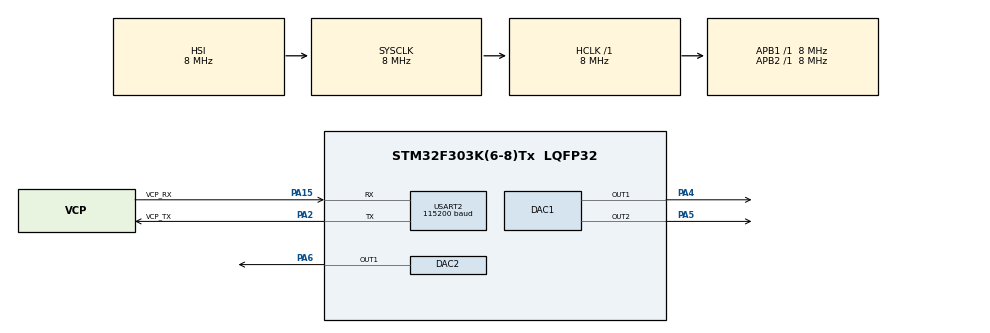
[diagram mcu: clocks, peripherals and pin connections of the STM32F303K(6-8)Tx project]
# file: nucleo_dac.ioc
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FREERTOS.Events01=eventCMD,Dynamic,NULL;eventUpdateDAC,Dynamic,NULL
FREERTOS.Tasks01=defaultTask,24,128,StartDefaultTask,Default,NULL,Dynamic,NULL,NULL;taskCMD,8,128,StartTaskCMD,Default,NULL,Dynamic,NULL,NULL
FREERTOS.configUSE_NEWLIB_REENTRANT=1
Mcu.Family=STM32F3
Mcu.Name=STM32F303K(6-8)Tx
Mcu.Package=LQFP32
NVIC.PriorityGroup=NVIC_PRIORITYGROUP_4
NVIC.TIM6_DAC1_IRQn=true\:5\:0\:false\:false\:true\:true\:true\:true\:true
NVIC.USART2_IRQn=true\:5\:0\:false\:false\:true\:true\:true\:true\:true
PA13.GPIO_Label=SWDIO
PA13.Mode=Serial_Wire
PA13.Signal=SYS_JTMS-SWDIO
PA14.GPIO_Label=SWCLK
PA14.Mode=Serial_Wire
PA14.Signal=SYS_JTCK-SWCLK
PA15.GPIO_Label=VCP_RX
PA15.Mode=Asynchronous
PA15.Signal=USART2_RX
PA2.GPIO_Label=VCP_TX
PA2.Mode=Asynchronous
PA2.Signal=USART2_TX
PA4.Signal=COMP_DAC11_group
PA5.Signal=COMP_DAC12_group
PA6.Signal=COMP_DAC21_group
PF0\ /\ OSC_IN.GPIO_Label=MCO
PF0\ /\ OSC_IN.Mode=HSE-External-Clock-Source
PF0\ /\ OSC_IN.Signal=RCC_OSC_IN
ProjectManager.HeapSize=0x200
ProjectManager.StackSize=0x400
ProjectManager.TargetToolchain=STM32CubeIDE
RCC.AHBFreq_Value=8000000
RCC.APB1Freq_Value=8000000
RCC.APB2Freq_Value=8000000
RCC.CortexFreq_Value=8000000
RCC.HSE_VALUE=8000000
RCC.HSI_VALUE=8000000
RCC.SYSCLKFreq_VALUE=8000000
SH.COMP_DAC11_group.0=DAC1_OUT1,DAC_OUT1
SH.COMP_DAC12_group.0=DAC1_OUT2,DAC_OUT2
SH.COMP_DAC21_group.0=DAC2_OUT1,Switch_Enable_OUT1
USART2.BaudRate=115200
USART2.VirtualMode-Asynchronous=VM_ASYNC
VP_FREERTOS_VS_CMSIS_V2.Mode=CMSIS_V2
board=NUCLEO-F303K8

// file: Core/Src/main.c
/* USER CODE BEGIN Header */
/**
  ******************************************************************************
  * @file           : main.c
  * @brief          : Main program body
  ******************************************************************************
  * @attention
  *
  * Copyright (c) 2024 STMicroelectronics.
  * All rights reserved.
  *
  * This software is licensed under terms that can be found in the LICENSE file
  * in the root directory of this software component.
  * If no LICENSE file comes with this software, it is provided AS-IS.
  *
  ******************************************************************************
  */
/* USER CODE END Header */
#include "main.h"
#include "cmsis_os.h"

/* USER CODE BEGIN Includes */
#include <string.h>
#include <stdio.h>
#include <stdarg.h>
#include <stdlib.h>
/* USER CODE END Includes */

/* USER CODE BEGIN PD */
#define UART_STR_LEN 80

#define CMD_MAX_LEN 16
#define PARAM_MAX_LEN 8
#define TOTAL_CMD_PARAMS 3
#define TOTAL_DACS 3
#define MAX_RCV_LEN (CMD_MAX_LEN + 1 + (PARAM_MAX_LEN * TOTAL_CMD_PARAMS))
#define FLAG_CMD_BUF0_READY 0x1
#define FLAG_CMD_BUF1_READY 0x2
#define FLAG_DAC0_UPDATE 0x1
#define FLAG_DAC1_UPDATE 0x2
#define FLAG_DAC2_UPDATE 0x3
/* USER CODE END PD */

DAC_HandleTypeDef hdac1;
DAC_HandleTypeDef hdac2;

UART_HandleTypeDef huart2;

/* Definitions for defaultTask */
osThreadId_t defaultTaskHandle;
const osThreadAttr_t defaultTask_attributes = {
  .name = "defaultTask",
  .stack_size = 128 * 4,
  .priority = (osPriority_t) osPriorityNormal,
};
/* Definitions for taskCMD */
osThreadId_t taskCMDHandle;
const osThreadAttr_t taskCMD_attributes = {
  .name = "taskCMD",
  .stack_size = 128 * 4,
  .priority = (osPriority_t) osPriorityLow,
};
/* Definitions for eventCMD */
osEventFlagsId_t eventCMDHandle;
const osEventFlagsAttr_t eventCMD_attributes = {
  .name = "eventCMD"
};
/* Definitions for eventUpdateDAC */
osEventFlagsId_t eventUpdateDACHandle;
const osEventFlagsAttr_t eventUpdateDAC_attributes = {
  .name = "eventUpdateDAC"
};
/* USER CODE BEGIN PV */
uint16_t dac_value[TOTAL_DACS];

char uart_msg[UART_STR_LEN];
extern struct RunTableInfo RunTable;

// serial command processing
uint8_t rcv_byte;
uint8_t rcv_buf[2][MAX_RCV_LEN];
uint8_t rcv_idx = 0;
uint8_t rcv_buf_idx = 0;
uint8_t rcv_cmd_len = 0;

char cmd_buf[MAX_RCV_LEN];
char cmd[CMD_MAX_LEN];
char cmd_params[TOTAL_CMD_PARAMS][PARAM_MAX_LEN];
char cmd_delim[2] = " ";

/* USER CODE END PV */

void SystemClock_Config(void);
static void MX_GPIO_Init(void);
static void MX_USART2_UART_Init(void);
static void MX_DAC1_Init(void);
static void MX_DAC2_Init(void);
void StartDefaultTask(void *argument);
void StartTaskCMD(void *argument);

/* USER CODE BEGIN PFP */
void debug_print_uart(char *fmt, ...);
/* USER CODE END PFP */

int main(void)
{

  /* MCU Configuration--------------------------------------------------------*/

  /* Reset of all peripherals, Initializes the Flash interface and the Systick. */
  HAL_Init();

  /* Configure the system clock */
  SystemClock_Config();

  /* Initialize all configured peripherals */
  MX_GPIO_Init();
  MX_USART2_UART_Init();
  MX_DAC1_Init();
  MX_DAC2_Init();
  /* USER CODE BEGIN 2 */
  HAL_DAC_Start(&hdac1, DAC_CHANNEL_1);
  HAL_DAC_Start(&hdac1, DAC_CHANNEL_2);
  HAL_DAC_Start(&hdac2, DAC_CHANNEL_1);
  /* USER CODE END 2 */

  /* Init scheduler */
  osKernelInitialize();

  /* Create the thread(s) */
  /* creation of defaultTask */
  defaultTaskHandle = osThreadNew(StartDefaultTask, NULL, &defaultTask_attributes);

  /* creation of taskCMD */
  taskCMDHandle = osThreadNew(StartTaskCMD, NULL, &taskCMD_attributes);

  /* Create the event(s) */
  /* creation of eventCMD */
  eventCMDHandle = osEventFlagsNew(&eventCMD_attributes);

  /* creation of eventUpdateDAC */
  eventUpdateDACHandle = osEventFlagsNew(&eventUpdateDAC_attributes);

  /* Start scheduler */
  osKernelStart();

  /* We should never get here as control is now taken by the scheduler */
  /* Infinite loop */
  while (1)
  {

  }
}

void SystemClock_Config(void)
{
  RCC_OscInitTypeDef RCC_OscInitStruct = {0};
  RCC_ClkInitTypeDef RCC_ClkInitStruct = {0};

  /** Initializes the RCC Oscillators according to the specified parameters
  * in the RCC_OscInitTypeDef structure.
  */
  RCC_OscInitStruct.OscillatorType = RCC_OSCILLATORTYPE_HSI;
  RCC_OscInitStruct.HSIState = RCC_HSI_ON;
  RCC_OscInitStruct.HSICalibrationValue = RCC_HSICALIBRATION_DEFAULT;
  RCC_OscInitStruct.PLL.PLLState = RCC_PLL_NONE;
  if (HAL_RCC_OscConfig(&RCC_OscInitStruct) != HAL_OK)
  {
    Error_Handler();
  }

  /** Initializes the CPU, AHB and APB buses clocks
  */
  RCC_ClkInitStruct.ClockType = RCC_CLOCKTYPE_HCLK|RCC_CLOCKTYPE_SYSCLK
                              |RCC_CLOCKTYPE_PCLK1|RCC_CLOCKTYPE_PCLK2;
  RCC_ClkInitStruct.SYSCLKSource = RCC_SYSCLKSOURCE_HSI;
  RCC_ClkInitStruct.AHBCLKDivider = RCC_SYSCLK_DIV1;
  RCC_ClkInitStruct.APB1CLKDivider = RCC_HCLK_DIV1;
  RCC_ClkInitStruct.APB2CLKDivider = RCC_HCLK_DIV1;

  if (HAL_RCC_ClockConfig(&RCC_ClkInitStruct, FLASH_LATENCY_0) != HAL_OK)
  {
    Error_Handler();
  }
}

static void MX_DAC1_Init(void)
{

  DAC_ChannelConfTypeDef sConfig = {0};

  /** DAC Initialization
  */
  hdac1.Instance = DAC1;
  if (HAL_DAC_Init(&hdac1) != HAL_OK)
  {
    Error_Handler();
  }

  /** DAC channel OUT1 config
  */
  sConfig.DAC_Trigger = DAC_TRIGGER_NONE;
  sConfig.DAC_OutputBuffer = DAC_OUTPUTBUFFER_ENABLE;
  if (HAL_DAC_ConfigChannel(&hdac1, &sConfig, DAC_CHANNEL_1) != HAL_OK)
  {
    Error_Handler();
  }

  /** DAC channel OUT2 config
  */
  sConfig.DAC_OutputSwitch = DAC_OUTPUTSWITCH_ENABLE;
  if (HAL_DAC_ConfigChannel(&hdac1, &sConfig, DAC_CHANNEL_2) != HAL_OK)
  {
    Error_Handler();
  }

}

static void MX_DAC2_Init(void)
{

  DAC_ChannelConfTypeDef sConfig = {0};

  /** DAC Initialization
  */
  hdac2.Instance = DAC2;
  if (HAL_DAC_Init(&hdac2) != HAL_OK)
  {
    Error_Handler();
  }

  /** DAC channel OUT1 config
  */
  sConfig.DAC_Trigger = DAC_TRIGGER_NONE;
  sConfig.DAC_OutputSwitch = DAC_OUTPUTSWITCH_ENABLE;
  if (HAL_DAC_ConfigChannel(&hdac2, &sConfig, DAC_CHANNEL_1) != HAL_OK)
  {
    Error_Handler();
  }

}

static void MX_USART2_UART_Init(void)
{

  huart2.Instance = USART2;
  huart2.Init.BaudRate = 115200;
  huart2.Init.WordLength = UART_WORDLENGTH_8B;
  huart2.Init.StopBits = UART_STOPBITS_1;
  huart2.Init.Parity = UART_PARITY_NONE;
  huart2.Init.Mode = UART_MODE_TX_RX;
  huart2.Init.HwFlowCtl = UART_HWCONTROL_NONE;
  huart2.Init.OverSampling = UART_OVERSAMPLING_16;
  huart2.Init.OneBitSampling = UART_ONE_BIT_SAMPLE_DISABLE;
  huart2.AdvancedInit.AdvFeatureInit = UART_ADVFEATURE_NO_INIT;
  if (HAL_UART_Init(&huart2) != HAL_OK)
  {
    Error_Handler();
  }

}

static void MX_GPIO_Init(void)
{

  /* GPIO Ports Clock Enable */
  __HAL_RCC_GPIOF_CLK_ENABLE();
  __HAL_RCC_GPIOA_CLK_ENABLE();

}

/* USER CODE BEGIN 4 */

void debug_print_uart(char *fmt, ...)
{
	va_list va;
	va_start(va, fmt);
	vsnprintf(uart_msg, UART_STR_LEN, fmt, va);
	HAL_UART_Transmit(&huart2, (const uint8_t*)uart_msg, strlen(uart_msg), 500);
	va_end(va);

}

void HAL_UART_RxCpltCallback(UART_HandleTypeDef *huart)
{
   if (huart->Instance == USART2) { // Current UART
	   rcv_buf[rcv_buf_idx][rcv_idx] = rcv_byte;    // Add data to Rx_Buffer
	   if ((rcv_byte == '\n' || rcv_byte == '\r')) {
		   // if a \r or \n already handled, ignore the next one until new characters received
		   if (rcv_idx > 0) {
			   rcv_cmd_len = rcv_idx;
			   osEventFlagsSet(eventCMDHandle, rcv_buf_idx + 1);
			   rcv_buf_idx = (int)(!rcv_buf_idx);
			   rcv_idx = 0;
		   }
	   } else {
		   rcv_idx++;
		   if (rcv_idx >= MAX_RCV_LEN) {
			   rcv_idx = MAX_RCV_LEN;
			   //TODO, should report error
		   }
	   }
   }

   HAL_UART_Receive_IT(&huart2, &rcv_byte, 1);
}

void parse_cmd_buf(void)
{
	char *ptr = strtok(cmd_buf, cmd_delim);
	strncpy(cmd, ptr, sizeof(cmd));
	int param_idx = 0;
	while (ptr != NULL) {
		ptr = strtok(NULL, cmd_delim);
		strncpy(cmd_params[param_idx], ptr, sizeof(cmd_params[param_idx]));
		param_idx++;
	}

}

void clear_cmd_buf(void)
{
	memset(cmd, 0, CMD_MAX_LEN);
	for (int i=0;i<TOTAL_CMD_PARAMS;i++) {
		memset(cmd_params[i], 0, PARAM_MAX_LEN);
	}
}
/* USER CODE END 4 */

void StartDefaultTask(void *argument)
{
  /* USER CODE BEGIN 5 */
  /* Infinite loop */
	uint32_t requested_flags = FLAG_DAC0_UPDATE | FLAG_DAC1_UPDATE | FLAG_DAC2_UPDATE;
	uint32_t flags;

	for(;;) {
		flags = osEventFlagsWait(eventUpdateDACHandle, requested_flags, osFlagsWaitAny, osWaitForever);
		if (flags < 0x80000000) {
			if (flags & FLAG_DAC0_UPDATE) {
				HAL_DAC_SetValue(&hdac1, DAC_CHANNEL_1, DAC_ALIGN_12B_R, dac_value[0]);
			}
			if (flags & FLAG_DAC1_UPDATE) {
				HAL_DAC_SetValue(&hdac1, DAC_CHANNEL_2, DAC_ALIGN_12B_R, dac_value[1]);
			}
			if (flags & FLAG_DAC2_UPDATE) {
				HAL_DAC_SetValue(&hdac2, DAC_CHANNEL_1, DAC_ALIGN_12B_R, dac_value[2]);
			}
		}
	}
  /* USER CODE END 5 */
}

void StartTaskCMD(void *argument)
{
  /* USER CODE BEGIN StartTaskCMD */
  /* Infinite loop */
  for(;;) {
	  HAL_UART_Receive_IT(&huart2, &rcv_byte, 1);

		uint32_t flags;
		for(;;) {
			flags = osEventFlagsWait(eventCMDHandle, FLAG_CMD_BUF0_READY | FLAG_CMD_BUF1_READY, osFlagsWaitAny, 100);
			if (flags < 0x80000000) {
				memcpy((char*)cmd_buf, (const char*)rcv_buf[flags-1], rcv_cmd_len);
				cmd_buf[rcv_cmd_len] = '\0';
				clear_cmd_buf();
				parse_cmd_buf();
				if (strncmp(cmd, "dac", 3) == 0) {
					int dac_idx = atoi(cmd_params[0]);
					if (0 <= dac_idx && dac_idx < TOTAL_DACS) {
						float percent = atof(cmd_params[1]);
						if (percent < 0.0 || percent > 100.0) {
							debug_print_uart("Illegal dac value %d\r\n", dac_value[dac_idx]);
						} else {
							debug_print_uart("Setting DAC %d to %d\r\n", dac_idx, dac_value[dac_idx]);
							dac_value[dac_idx] = (int)(percent/100.0 * 4095);
							osEventFlagsSet(eventUpdateDACHandle, dac_idx+1);
						}
					} else{
						debug_print_uart("Illegal DAC %d\r\n", dac_idx);
					}
				} else {
					debug_print_uart("Unknown cmd |%s|\r\n", cmd);
				}
			}
		}
	}
  /* USER CODE END StartTaskCMD */
}

void Error_Handler(void)
{
  __disable_irq();
  while (1)
  {
  }
}
